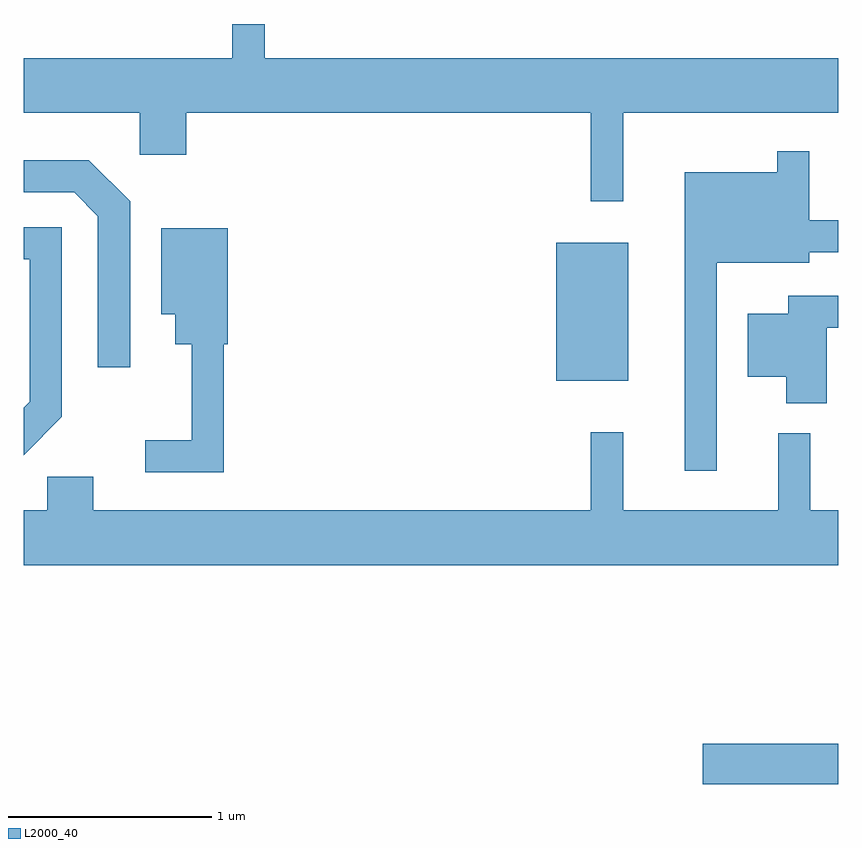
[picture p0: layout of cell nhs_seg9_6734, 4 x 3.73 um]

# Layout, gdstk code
import gdstk
lib = gdstk.Library(unit=1e-6, precision=1e-09)
def R(c, l, rs):  # rectangles x0, y0, x1, y1
    for r in rs: c.add(gdstk.rectangle(r[:2], r[2:], *l))
def P(c, l, *ps):  # polygons
    for p in ps: c.add(gdstk.Polygon(p, *l))
L2000_40 = (2000, 40)

nhs_seg9_6734 = lib.new_cell('nhs_seg9_6734')
R(nhs_seg9_6734, L2000_40, [(386.946,2030.701,387.611,2030.899), (386.226,2032.681,386.579,2033.359)])
P(nhs_seg9_6734, L2000_40, [(386.554,2033.996),(387.611,2033.996),(387.611,2034.264),(384.794,2034.264),(384.794,2034.432),(384.636,2034.432),(384.636,2034.264),(383.611,2034.264),(383.611,2033.996),(384.181,2033.996),(384.181,2033.791),(384.409,2033.791),(384.409,2033.996),(386.396,2033.996),(386.396,2033.563),(386.554,2033.563)],
  [(387.014,2033.261),(387.469,2033.261),(387.469,2033.311),(387.611,2033.311),(387.611,2033.469),(387.469,2033.469),(387.469,2033.808),(387.311,2033.808),(387.311,2033.704),(386.856,2033.704),(386.856,2032.238),(387.014,2032.238)],
  [(384.134,2033.562),(383.932,2033.764),(383.611,2033.764),(383.611,2033.606),(383.859,2033.606),(383.976,2033.489),(383.976,2032.748),(384.134,2032.748)],
  [(383.799,2032.504),(383.799,2033.434),(383.611,2033.434),(383.611,2033.276),(383.641,2033.276),(383.641,2032.577),(383.611,2032.547),(383.611,2032.315)],
  [(384.594,2032.861),(384.614,2032.861),(384.614,2033.429),(384.286,2033.429),(384.286,2033.006),(384.356,2033.006),(384.356,2032.861),(384.436,2032.861),(384.436,2032.389),(384.208,2032.389),(384.208,2032.231),(384.594,2032.231)],
  [(387.554,2032.941),(387.611,2032.941),(387.611,2033.099),(387.366,2033.099),(387.366,2033.009),(387.166,2033.009),(387.166,2032.701),(387.356,2032.701),(387.356,2032.571),(387.554,2032.571)],
  [(387.611,2032.044),(387.474,2032.044),(387.474,2032.423),(387.316,2032.423),(387.316,2032.044),(386.554,2032.044),(386.554,2032.428),(386.396,2032.428),(386.396,2032.044),(383.954,2032.044),(383.954,2032.209),(383.726,2032.209),(383.726,2032.044),(383.611,2032.044),(383.611,2031.776),(387.611,2031.776)])

lib.write_gds('nhs_seg9_6734.gds')
